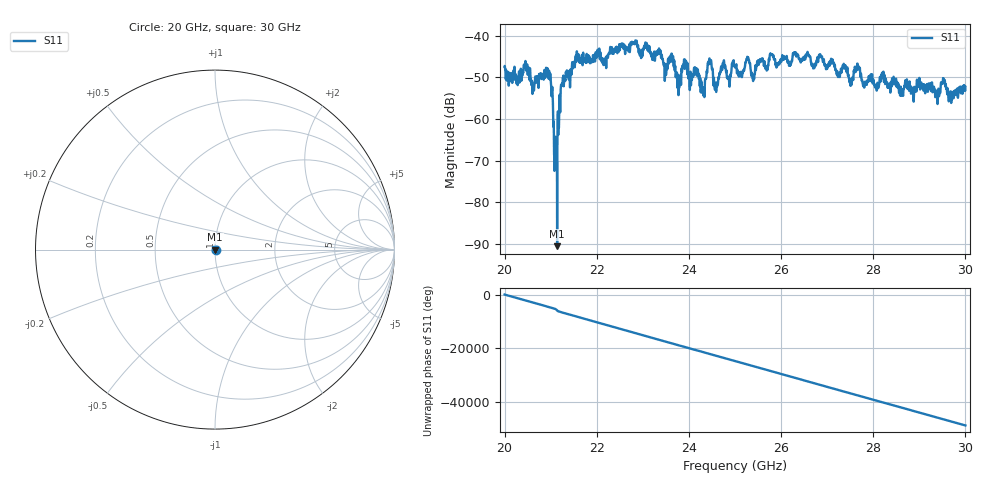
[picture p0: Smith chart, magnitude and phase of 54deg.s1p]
#  HZ  S  RI  R  50.00
! Rohde & Schwarz ZVA40 4Ports - Version 3.90 - 1145.1110k42 SN: 100403
! Date: 2023-10-03 12:57:33
! Measurement: S12
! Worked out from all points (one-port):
!   5001 points, 20 GHz to 30 GHz, reference 50 ohm
!   lowest |S11| = -90.5 dB at 21.14 GHz (marker M1), VSWR 1.00, Z = 50 - j0.00116 ohm
!   |S11| at or under -10 dB: start of sweep to end of sweep
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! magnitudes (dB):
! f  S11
! 20 GHz  -47.4
! 20.47 GHz  -48.4
! 20.61 GHz  -52.4
! 20.94 GHz  -49.3
! 21 GHz  -50.8
! 21.1 GHz  -64.5
! 21.14 GHz  -90.5
! 21.25 GHz  -51.5
! 21.58 GHz  -45.3
! 22.5 GHz  -43.5
! 23.61 GHz  -46.0
! 23.75 GHz  -52.5
! 23.91 GHz  -48.0
! 24.3 GHz  -53.1
! 24.45 GHz  -45.5
! 24.58 GHz  -51.6
! 24.74 GHz  -46.6
! 24.87 GHz  -50.5
! 25 GHz  -47.6
! 25.28 GHz  -45.2
! 25.39 GHz  -50.2
! 26.25 GHz  -45.0
! 26.86 GHz  -45.0
! 27.5 GHz  -50.5
! 27.65 GHz  -48.2
! 27.81 GHz  -51.1
! 28.75 GHz  -51.5
! 30 GHz  -52.3
